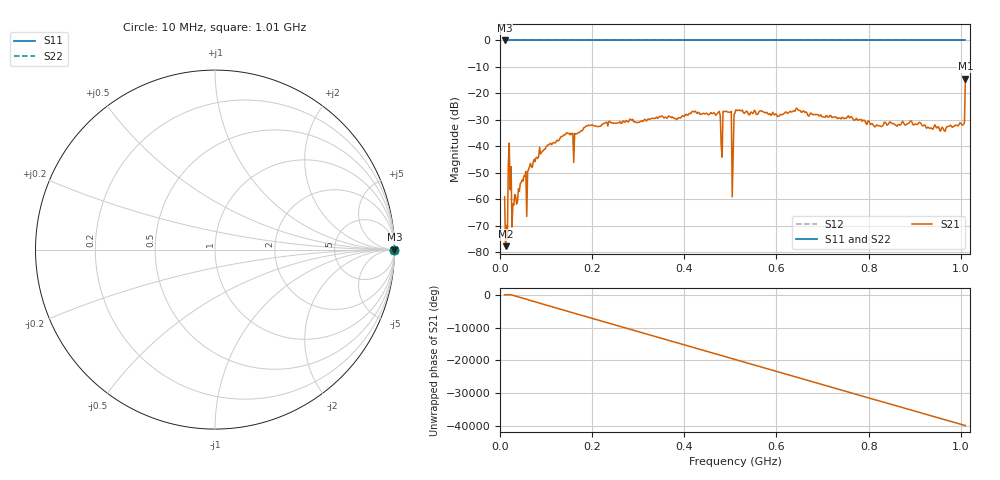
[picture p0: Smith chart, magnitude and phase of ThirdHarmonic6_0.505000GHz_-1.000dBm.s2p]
! 8/15/2025 3:16:58 PM
! C:\ANRITSUVNA\TEMP\TEMP.S2P
! CHANNEL.1
! TR.MEASUREMENT
! RAW.DATA
! RF.CORRECTION.OFF
! AVERAGING.OFF
! IF.BANDWIDTH: 5KHZ
! SWEEPTYPE:  FREQ.SWEEP(Linear)
! Reference Plane Port Info
! PORT:  PORT1  PORT2
! DISTANCE:  0  m  0  m
! TIME:  0  s  0  s
! PHASE.OFFSET:  0  deg.  0  deg.
! LOSS:  0  dB  0  dB
! REF.LOSS:  0  dB  0  dB
! REF.FREQ:  0  Hz  0  Hz
! Power Info
! POWER:  -20  dBm  -20  dBm
! EFF.POWER:  -20  dBm  -20  dBm
! SOURCE.ATTEN:  0  dB  0  dB
! TEST.ATTEN:  0  dB  0  dB
# GHZ S RI R 50.0
! FREQ.GHZ  S11RE  S11IM  S21RE  S21IM  S12RE  S12IM  S22RE  S22IM
!; PortSelection: Port_12
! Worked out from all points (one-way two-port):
!   501 points, 10 MHz to 1.01 GHz, reference 50 ohm
!   highest |S21| = -14.41 dB at 1.01 GHz (marker M1); lowest = -77.8 dB at 12 MHz (marker M2)
!   lowest |S11| = 0.0 dB at 10 MHz (marker M3)
!   |S11| at or under -10 dB: nowhere
!   |S22| runs from 0.0 to 0.0 dB; largest |S21 - S12| = 1.2
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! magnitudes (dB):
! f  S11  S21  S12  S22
! 10 MHz  0.0  -59.1  0.0  0.0
! 12 MHz  0.0  -77.8  0.0  0.0
! 22 MHz  0.0  -56.4  0.0  0.0
! 30 MHz  0.0  -62.3  0.0  0.0
! 52 MHz  0.0  -51.2  0.0  0.0
! 54 MHz  0.0  -51.3  0.0  0.0
! 90 MHz  0.0  -42.4  0.0  0.0
! 178 MHz  0.0  -34.2  0.0  0.0
! 344 MHz  0.0  -29.2  0.0  0.0
! 474 MHz  0.0  -27.2  0.0  0.0
! 478 MHz  0.0  -28.4  0.0  0.0
! 484 MHz  0.0  -26.8  0.0  0.0
! 488 MHz  0.0  -26.8  0.0  0.0
! 498 MHz  0.0  -27.2  0.0  0.0
! 502 MHz  0.0  -26.8  0.0  0.0
! 506 MHz  0.0  -43.2  0.0  0.0
! 510 MHz  0.0  -27.4  0.0  0.0
! 516 MHz  0.0  -26.5  0.0  0.0
! 678 MHz  0.0  -28.0  0.0  0.0
! 844 MHz  0.0  -31.3  0.0  0.0
! 1.004 GHz  0.0  -32.0  0.0  0.0
! 1.01 GHz  0.0  -14.4  0.0  0.0
